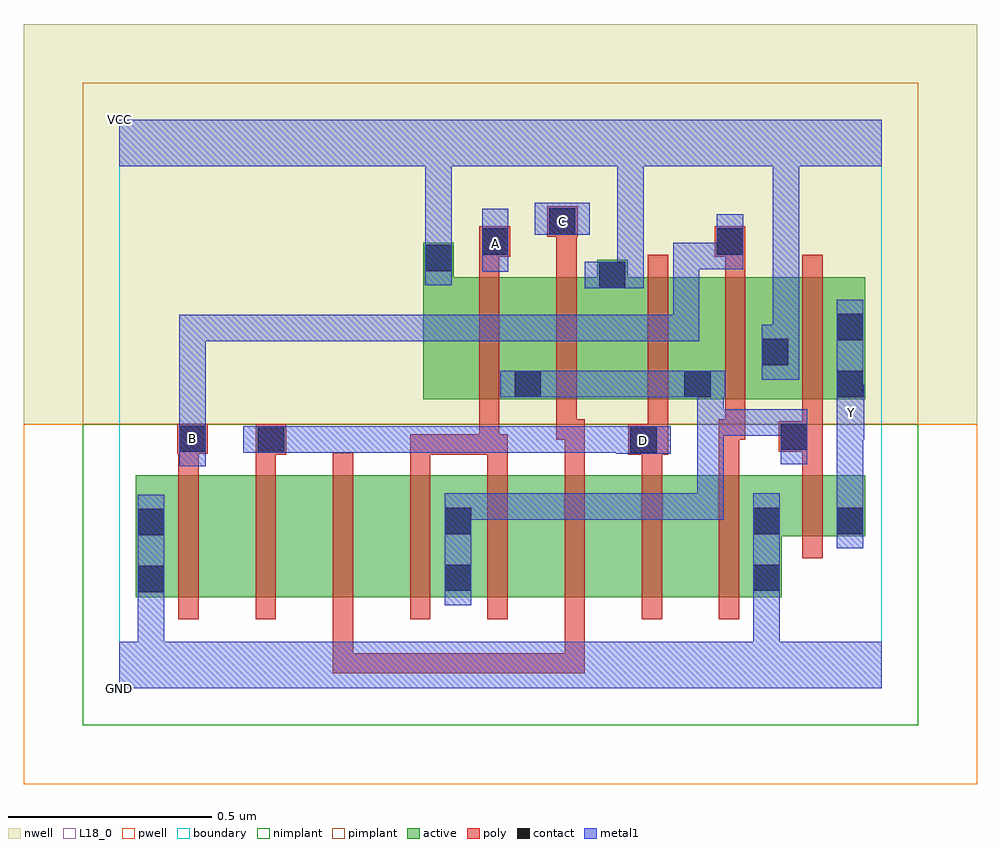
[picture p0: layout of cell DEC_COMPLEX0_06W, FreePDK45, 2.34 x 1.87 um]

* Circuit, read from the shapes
.subckt DEC_COMPLEX0_06W A B C D GND VCC Y
M1 n1 B GND VSUBS nfet w=0.3u l=0.05u
M2 n2 D n1 VSUBS nfet w=0.3u l=0.05u
M3 n3 C n2 VSUBS nfet w=0.3u l=0.05u
M4 n4 A n3 VSUBS nfet w=0.3u l=0.05u
M5 n5 A n4 VSUBS nfet w=0.3u l=0.05u
M6 n6 C n5 VSUBS nfet w=0.3u l=0.05u
M7 n7 D n6 VSUBS nfet w=0.3u l=0.05u
M8 GND B n7 VSUBS nfet w=0.3u l=0.05u
M9 Y n4 GND VSUBS nfet w=0.15u l=0.05u
M10 n4 A VCC n8 pfet w=0.3u l=0.05u
M11 VCC C n4 n8 pfet w=0.3u l=0.05u
M12 n4 D VCC n8 pfet w=0.3u l=0.05u
M13 VCC B n4 n8 pfet w=0.3u l=0.05u
M14 Y n4 VCC n8 pfet w=0.3u l=0.05u
.ends

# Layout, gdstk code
import gdstk
lib = gdstk.Library(unit=1e-6, precision=1e-09)
def R(c, l, rs):  # rectangles x0, y0, x1, y1
    for r in rs: c.add(gdstk.rectangle(r[:2], r[2:], *l))
def A(c, l, x, y, w, h, nx, ny, dx, dy):  # array of equal rectangles
    R(c, l, [(x+i*dx, y+j*dy, x+i*dx+w, y+j*dy+h) for i in range(nx) for j in range(ny)])
active = (1, 0)
pwell = (2, 0)
nwell = (3, 0)
nimplant = (4, 0)
pimplant = (5, 0)
poly = (9, 0)
contact = (10, 0)
metal1 = (11, 0)
L18_0 = (18, 0)
boundary = (235, 0)

dec_complex0_06w = lib.new_cell('DEC_COMPLEX0_06W')
R(dec_complex0_06w, active, [(0.04,0.225,0.265,0.525), (0.04,0.225,0.115,0.525), (0.265,0.225,0.455,0.525), (0.455,0.225,0.645,0.525), (0.645,0.225,0.87,0.525), (0.795,0.225,1.025,0.525), (0.795,0.225,0.87,0.525), (1.025,0.225,1.215,0.525), (1.215,0.225,1.405,0.525), (1.405,0.225,1.63,0.525), (1.555,0.235,1.63,0.525), (1.555,0.375,1.835,0.525), (1.76,0.375,1.835,0.525), (0.747,0.712,1.042,1.012), (0.747,0.712,0.822,1.097), (0.967,0.712,1.25,1.012), (0.967,0.712,1.042,0.937), (1.175,0.712,1.46,1.012), (1.385,0.712,1.46,1.005), (1.385,0.712,1.65,1.012), (1.575,0.712,1.835,1.012), (1.76,0.712,1.835,1.005), (1.575,0.79,1.65,1.005), (1.175,0.867,1.25,1.055)])
R(dec_complex0_06w, pwell, [(-0.235,-0.235,2.11,0.65)])
R(dec_complex0_06w, nwell, [(-0.235,0.65,2.11,1.635)])
R(dec_complex0_06w, nimplant, [(-0.09,-0.09,1.965,0.65)])
R(dec_complex0_06w, pimplant, [(-0.09,0.65,1.965,1.49)])
A(dec_complex0_06w, poly, 0.145, 0.17, 0.05, 0.41, 8, 1, 0.19, 0)
A(dec_complex0_06w, poly, 1.3, 0.657, 0.05, 0.41, 3, 1, 0.19, 0)
R(dec_complex0_06w, poly, [(0.525,0.037,0.575,0.22), (0.525,0.037,0.575,0.087), (0.525,0.037,0.575,0.087), (0.525,0.037,0.575,0.087), (0.525,0.037,0.802,0.087), (0.752,0.037,0.802,0.087), (0.752,0.037,0.802,0.087), (0.752,0.037,0.802,0.087), (0.752,0.037,0.97,0.087), (0.92,0.037,1.145,0.087), (0.92,0.037,0.97,0.087), (0.92,0.037,0.97,0.087), (0.92,0.037,0.97,0.087), (1.095,0.037,1.145,0.22), (1.095,0.037,1.145,0.087), (1.68,0.32,1.73,0.58), (0.145,0.53,0.195,0.627), (0.335,0.53,0.385,0.625), (0.715,0.53,0.765,0.625), (0.905,0.53,0.955,0.625), (1.095,0.53,1.145,0.662), (1.285,0.53,1.335,0.625), (1.475,0.53,1.525,0.662), (1.68,0.53,1.73,0.632), (0.335,0.575,0.41,0.65), (0.715,0.575,0.765,0.625), (0.715,0.575,0.765,0.625), (0.715,0.575,0.765,0.625), (0.715,0.575,0.935,0.625), (0.885,0.575,0.935,0.707), (0.885,0.575,0.955,0.625), (1.252,0.575,1.35,0.65), (0.142,0.577,0.217,0.652), (1.622,0.582,1.73,0.657), (1.3,0.6,1.35,0.707), (1.68,0.607,1.73,0.707), (1.075,0.612,1.125,0.707), (1.075,0.612,1.145,0.662), (1.475,0.612,1.54,0.662), (1.49,0.612,1.54,0.707), (0.885,0.657,0.935,1.067), (1.075,0.657,1.125,1.067), (0.885,1.017,0.935,1.112), (1.075,1.017,1.125,1.162), (1.49,1.017,1.54,1.112), (0.885,1.062,0.962,1.137), (1.465,1.062,1.54,1.137), (1.052,1.112,1.127,1.187)])
R(dec_complex0_06w, contact, [(0.045,0.237,0.11,0.302), (0.8,0.24,0.865,0.305), (1.56,0.24,1.625,0.305), (0.045,0.377,0.11,0.442), (0.8,0.38,0.865,0.445), (1.56,0.38,1.625,0.445), (1.765,0.38,1.83,0.445), (0.34,0.58,0.405,0.645), (1.257,0.58,1.322,0.645), (0.147,0.582,0.212,0.647), (1.627,0.587,1.692,0.652), (0.972,0.717,1.037,0.782), (1.39,0.717,1.455,0.782), (1.765,0.717,1.83,0.782), (1.58,0.795,1.645,0.86), (1.765,0.857,1.83,0.922), (1.18,0.985,1.245,1.05), (0.752,1.027,0.817,1.092), (0.892,1.067,0.957,1.132), (1.47,1.067,1.535,1.132), (1.057,1.117,1.122,1.182)])
R(dec_complex0_06w, metal1, [(0,0,1.875,0.115), (0.045,0.05,0.11,0.115), (0.045,0.05,0.11,0.115), (0.045,0.05,0.11,0.115), (0.045,0.05,0.11,0.115), (0.045,0.05,0.11,0.267), (1.56,0.05,1.625,0.27), (0.045,0.202,0.11,0.477), (0.8,0.205,0.865,0.48), (1.56,0.205,1.625,0.27), (1.56,0.205,1.625,0.27), (1.56,0.205,1.625,0.27), (1.56,0.205,1.625,0.27), (1.56,0.205,1.625,0.48), (1.765,0.345,1.83,0.48), (0.8,0.415,0.865,0.48), (0.8,0.415,0.865,0.48), (0.8,0.415,1.072,0.48), (1.007,0.415,1.072,0.48), (1.007,0.415,1.072,0.48), (1.007,0.415,1.072,0.48), (1.007,0.415,1.282,0.48), (1.217,0.415,1.282,0.48), (1.217,0.415,1.295,0.48), (1.23,0.415,1.295,0.48), (1.23,0.415,1.487,0.48), (1.422,0.415,1.487,0.48), (1.422,0.415,1.487,0.687), (1.765,0.415,1.83,0.677), (0.147,0.547,0.212,0.682), (1.627,0.552,1.692,0.687), (1.222,0.577,1.357,0.645), (0.305,0.58,0.44,0.645), (0.375,0.58,0.44,0.645), (0.375,0.58,0.44,0.645), (0.375,0.58,0.577,0.645), (0.512,0.58,0.577,0.645), (0.512,0.58,0.577,0.645), (0.512,0.58,0.577,0.645), (0.512,0.58,0.715,0.645), (0.65,0.58,0.715,0.645), (0.65,0.58,0.715,0.645), (0.65,0.58,0.715,0.645), (0.65,0.58,0.865,0.645), (0.8,0.58,0.865,0.645), (0.8,0.58,1.002,0.645), (0.937,0.58,1.002,0.645), (0.937,0.58,1.002,0.645), (0.937,0.58,1.002,0.645), (0.937,0.58,1.282,0.645), (1.217,0.58,1.282,0.645), (1.217,0.58,1.287,0.645), (1.765,0.612,1.832,0.747), (0.147,0.617,0.212,0.682), (0.147,0.617,0.212,0.682), (0.147,0.617,0.212,0.92), (1.422,0.622,1.487,0.687), (1.422,0.622,1.535,0.687), (1.422,0.622,1.487,0.782), (1.47,0.622,1.535,0.687), (1.47,0.622,1.692,0.687), (1.627,0.622,1.692,0.687), (1.627,0.622,1.692,0.687), (1.765,0.682,1.83,0.747), (1.765,0.682,1.83,0.957), (0.937,0.717,1.072,0.782), (1.007,0.717,1.072,0.782), (1.007,0.717,1.072,0.782), (1.007,0.717,1.282,0.782), (1.217,0.717,1.282,0.782), (1.217,0.717,1.327,0.782), (1.262,0.717,1.327,0.782), (1.262,0.717,1.42,0.782), (1.355,0.717,1.49,0.782), (1.58,0.76,1.672,0.895), (1.607,0.83,1.672,1.35), (0.147,0.855,0.212,0.92), (0.147,0.855,0.35,0.92), (0.285,0.855,0.35,0.92), (0.285,0.855,0.35,0.92), (0.285,0.855,0.35,0.92), (0.285,0.855,0.577,0.92), (0.512,0.855,0.577,0.92), (0.512,0.855,0.577,0.92), (0.512,0.855,0.577,0.92), (0.512,0.855,0.715,0.92), (0.65,0.855,0.715,0.92), (0.65,0.855,0.715,0.92), (0.65,0.855,0.715,0.92), (0.65,0.855,0.715,0.92), (0.65,0.855,0.715,0.92), (0.65,0.855,0.852,0.92), (0.787,0.855,0.852,0.92), (0.787,0.855,1.072,0.92), (1.007,0.855,1.072,0.92), (1.007,0.855,1.072,0.92), (1.007,0.855,1.072,0.92), (1.007,0.855,1.21,0.92), (1.145,0.855,1.21,0.92), (1.145,0.855,1.397,0.92), (1.332,0.855,1.397,0.92), (1.332,0.855,1.427,0.92), (1.362,0.855,1.427,0.92), (1.362,0.855,1.427,0.92), (1.362,0.855,1.427,0.92), (1.362,0.855,1.427,1.097), (1.145,0.985,1.29,1.05), (1.225,0.985,1.29,1.35), (0.752,0.992,0.817,1.127), (0.892,1.025,0.957,1.18), (1.362,1.032,1.427,1.097), (1.362,1.032,1.535,1.097), (1.47,1.032,1.535,1.167), (0.752,1.062,0.817,1.127), (0.752,1.062,0.817,1.127), (0.752,1.062,0.817,1.35), (1.022,1.117,1.157,1.195), (0,1.285,1.875,1.4), (0.752,1.285,0.817,1.35), (0.752,1.285,0.817,1.35), (1.225,1.285,1.29,1.35), (1.225,1.285,1.29,1.35), (1.225,1.285,1.29,1.35), (1.225,1.285,1.29,1.35), (1.607,1.285,1.672,1.35), (1.607,1.285,1.672,1.35), (1.607,1.285,1.672,1.35), (1.607,1.285,1.672,1.35)])
R(dec_complex0_06w, L18_0, [(0,0,1.875,0.115), (0.045,0.05,0.11,0.115), (0.045,0.05,0.11,0.115), (0.045,0.05,0.11,0.115), (0.045,0.05,0.11,0.115), (0.045,0.05,0.11,0.267), (1.56,0.05,1.625,0.27), (0.045,0.202,0.11,0.477), (1.56,0.205,1.625,0.27), (1.56,0.205,1.625,0.27), (1.56,0.205,1.625,0.27), (1.56,0.205,1.625,0.27), (1.56,0.205,1.625,0.48), (1.765,0.345,1.83,0.48), (1.765,0.415,1.83,0.677), (0.147,0.547,0.212,0.682), (1.222,0.577,1.357,0.645), (1.257,0.577,1.322,0.642), (0.305,0.58,0.44,0.645), (0.375,0.58,0.44,0.645), (0.375,0.58,0.44,0.645), (0.375,0.58,0.577,0.645), (0.512,0.58,0.577,0.645), (0.512,0.58,0.577,0.645), (0.512,0.58,0.577,0.645), (0.512,0.58,0.715,0.645), (0.65,0.58,0.715,0.645), (0.65,0.58,0.715,0.645), (0.65,0.58,0.715,0.645), (0.65,0.58,0.865,0.645), (0.8,0.58,0.865,0.645), (0.8,0.58,1.002,0.645), (0.937,0.58,1.002,0.645), (0.937,0.58,1.002,0.645), (0.937,0.58,1.002,0.645), (0.937,0.58,1.282,0.645), (1.217,0.58,1.282,0.645), (1.217,0.58,1.287,0.645), (0.147,0.582,0.212,0.647), (1.765,0.612,1.832,0.747), (0.147,0.617,0.212,0.682), (0.147,0.617,0.212,0.682), (0.147,0.617,0.212,0.92), (1.767,0.647,1.832,0.712), (1.765,0.682,1.83,0.747), (1.765,0.682,1.83,0.957), (1.58,0.76,1.672,0.895), (1.607,0.83,1.672,1.35), (0.147,0.855,0.212,0.92), (0.147,0.855,0.35,0.92), (0.285,0.855,0.35,0.92), (0.285,0.855,0.35,0.92), (0.285,0.855,0.35,0.92), (0.285,0.855,0.577,0.92), (0.512,0.855,0.577,0.92), (0.512,0.855,0.577,0.92), (0.512,0.855,0.577,0.92), (0.512,0.855,0.715,0.92), (0.65,0.855,0.715,0.92), (0.65,0.855,0.715,0.92), (0.65,0.855,0.715,0.92), (0.65,0.855,0.715,0.92), (0.65,0.855,0.715,0.92), (0.65,0.855,0.852,0.92), (0.787,0.855,0.852,0.92), (0.787,0.855,1.072,0.92), (1.007,0.855,1.072,0.92), (1.007,0.855,1.072,0.92), (1.007,0.855,1.072,0.92), (1.007,0.855,1.21,0.92), (1.145,0.855,1.21,0.92), (1.145,0.855,1.397,0.92), (1.332,0.855,1.397,0.92), (1.332,0.855,1.427,0.92), (1.362,0.855,1.427,0.92), (1.362,0.855,1.427,0.92), (1.362,0.855,1.427,0.92), (1.362,0.855,1.427,1.097), (1.145,0.985,1.29,1.05), (1.225,0.985,1.29,1.35), (0.752,0.992,0.817,1.127), (0.892,1.025,0.957,1.18), (1.362,1.032,1.427,1.097), (1.362,1.032,1.535,1.097), (1.47,1.032,1.535,1.167), (0.752,1.062,0.817,1.127), (0.752,1.062,0.817,1.127), (0.752,1.062,0.817,1.35), (0.892,1.062,0.957,1.127), (1.022,1.117,1.157,1.195), (1.057,1.117,1.122,1.182), (0,1.285,1.875,1.4), (0.752,1.285,0.817,1.35), (0.752,1.285,0.817,1.35), (1.225,1.285,1.29,1.35), (1.225,1.285,1.29,1.35), (1.225,1.285,1.29,1.35), (1.225,1.285,1.29,1.35), (1.607,1.285,1.672,1.35), (1.607,1.285,1.672,1.35), (1.607,1.285,1.672,1.35), (1.607,1.285,1.672,1.35)])
R(dec_complex0_06w, boundary, [(0,0,1.875,1.4)])
dec_complex0_06w.add(gdstk.Label('A', (0.925,1.095), layer=11, texttype=0))
dec_complex0_06w.add(gdstk.Label('B', (0.18,0.615), layer=11, texttype=0))
dec_complex0_06w.add(gdstk.Label('C', (1.09,1.15), layer=11, texttype=0))
dec_complex0_06w.add(gdstk.Label('D', (1.29,0.61), layer=11, texttype=0))
dec_complex0_06w.add(gdstk.Label('Y', (1.8,0.68), layer=11, texttype=0))
dec_complex0_06w.add(gdstk.Label('VCC', (0,1.4), layer=11, texttype=0))
dec_complex0_06w.add(gdstk.Label('GND', (0,0), layer=11, texttype=0))

lib.write_gds('DEC_COMPLEX0_06W.gds')
